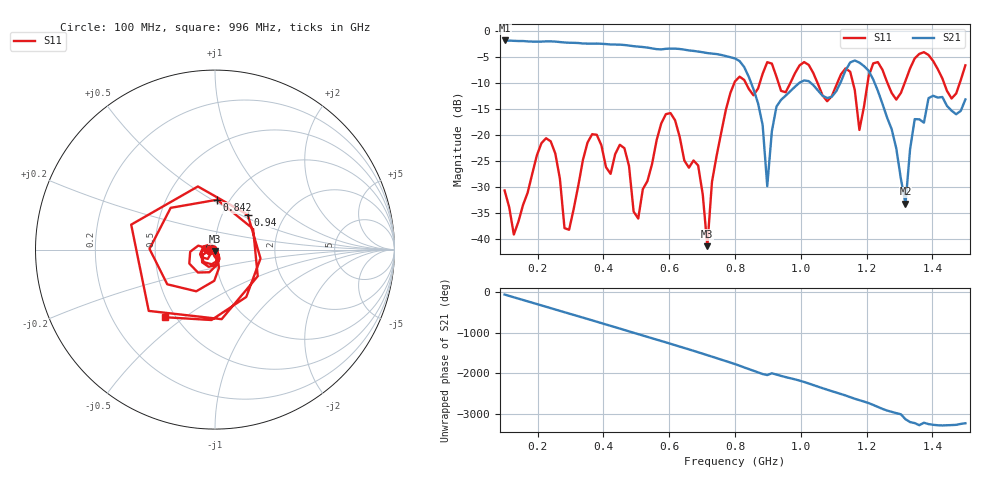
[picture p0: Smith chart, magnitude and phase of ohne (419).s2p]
! NanoVNA-App
! Date: 2025-09-25 14:24:03
! Start: 100MHz Stop: 1,5GHz Points: 101
! S-Parameter data: F S11 S21 S12 S22
# Hz S RI R 50
!  Frequency  S11_Real  S11_Imag  S21_Real  S21_Imag  S12_Real  S12_Imag  S22_Real  S22_Imag
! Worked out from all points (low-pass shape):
!   101 points, 100 MHz to 1.5 GHz, reference 50 ohm
!   highest |S21| = -1.79 dB at 100 MHz (marker M1); lowest = -33.2 dB at 1.318 GHz (marker M2)
!   |S21| within 3 dB of the highest: start of sweep to 771.8 MHz
!   lowest |S11| = -41.3 dB at 716 MHz (marker M3), VSWR 1.02, Z = 49.8 - j0.828 ohm
!   |S11| at or under -10 dB: start of sweep to 797.9 MHz; 833 MHz to 875.1 MHz (42.14 MHz wide, 4.93 % of centre); 1.051 GHz to 1.111 GHz (59.64 MHz wide, 5.52 % of centre) (the widest 3 of 7)
!   S12 and S22 are empty: the file has one direction only
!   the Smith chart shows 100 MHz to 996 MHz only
!   S11 on the Smith chart (normalised r, x): 100 MHz: 0.94, -0.01; 842 MHz: 0.88, +0.53; 940 MHz: 1.31, +0.55; 996 MHz: 0.44, -0.42
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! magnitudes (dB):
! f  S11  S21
! 100 MHz  -30.6  -1.8
! 128 MHz  -39.1  -1.9
! 226 MHz  -20.6  -2.0
! 296 MHz  -38.2  -2.2
! 338 MHz  -24.8  -2.4
! 464 MHz  -22.5  -2.7
! 506 MHz  -36.0  -3.0
! 576 MHz  -17.7  -3.5
! 688 MHz  -25.8  -3.9
! 716 MHz  -41.3  -4.2
! 800 MHz  -9.7  -5.3
! 842 MHz  -11.1  -8.8
! 898 MHz  -6.0  -29.8
! 940 MHz  -11.5  -13.2
! 996 MHz  -6.6  -9.9
! 1.038 GHz  -8.1  -10.4
! 1.178 GHz  -19.0  -6.1
! 1.22 GHz  -6.2  -9.3
! 1.276 GHz  -11.9  -18.9
! 1.318 GHz  -9.6  -33.2
! 1.346 GHz  -5.2  -16.9
! 1.5 GHz  -6.6  -13.1
